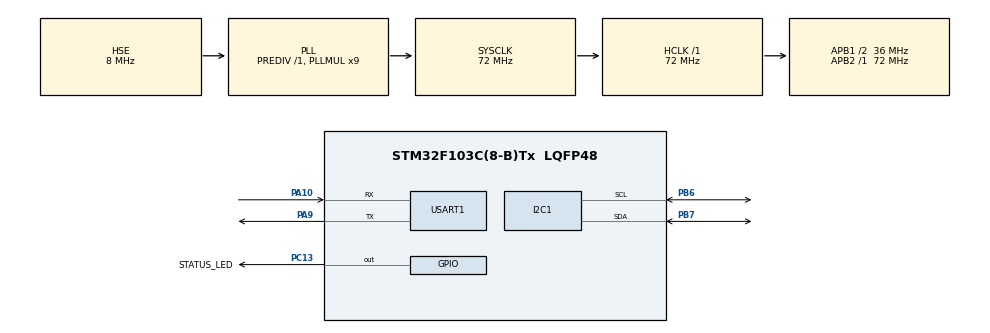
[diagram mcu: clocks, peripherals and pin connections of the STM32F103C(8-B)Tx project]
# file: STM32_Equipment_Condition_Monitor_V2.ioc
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Mcu.Family=STM32F1
Mcu.Name=STM32F103C(8-B)Tx
Mcu.Package=LQFP48
NVIC.PriorityGroup=NVIC_PRIORITYGROUP_4
PA10.Mode=Asynchronous
PA10.Signal=USART1_RX
PA9.Mode=Asynchronous
PA9.Signal=USART1_TX
PB6.Mode=I2C
PB6.Signal=I2C1_SCL
PB7.Mode=I2C
PB7.Signal=I2C1_SDA
PC13-TAMPER-RTC.GPIO_Label=STATUS_LED
PC13-TAMPER-RTC.Signal=GPIO_Output
PD0-OSC_IN.Mode=HSE-External-Oscillator
PD0-OSC_IN.Signal=RCC_OSC_IN
PD1-OSC_OUT.Mode=HSE-External-Oscillator
PD1-OSC_OUT.Signal=RCC_OSC_OUT
ProjectManager.HeapSize=0x200
ProjectManager.StackSize=0x400
ProjectManager.TargetToolchain=STM32CubeIDE
RCC.AHBFreq_Value=72000000
RCC.APB1CLKDivider=RCC_HCLK_DIV2
RCC.APB1Freq_Value=36000000
RCC.APB1TimFreq_Value=72000000
RCC.APB2Freq_Value=72000000
RCC.APB2TimFreq_Value=72000000
RCC.HCLKFreq_Value=72000000
RCC.PLLMUL=RCC_PLL_MUL9
RCC.PLLSourceVirtual=RCC_PLLSOURCE_HSE
RCC.SYSCLKFreq_VALUE=72000000
RCC.SYSCLKSource=RCC_SYSCLKSOURCE_PLLCLK
RCC.USBFreq_Value=72000000
USART1.VirtualMode=VM_ASYNC
VP_SYS_VS_ND.Mode=No_Debug
board=custom

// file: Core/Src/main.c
/* USER CODE BEGIN Header */
/**
  ******************************************************************************
  * @file           : main.c
  * @brief          : Main program body
  ******************************************************************************
  * @attention
  *
  * Copyright (c) 2026 STMicroelectronics.
  * All rights reserved.
  *
  * This software is licensed under terms that can be found in the LICENSE file
  * in the root directory of this software component.
  * If no LICENSE file comes with this software, it is provided AS-IS.
  *
  ******************************************************************************
  */
/* USER CODE END Header */
#include "main.h"
#include <stdio.h>
#include <math.h>
#include <stdlib.h>
#include <string.h>

/* USER CODE BEGIN PD */
#define VIBRATION_THRESHOLD_MG 150
#define CONDITION_WARNING_MG 300
#define CONDITION_CRITICAL_MG 500
#define MPU6050_ADDR        (0x68 << 1)
#define MPU6050_PWR_MGMT_1  0x6B
#define MPU6050_GYRO_CONFIG 0x1B
#define MPU6050_ACCEL_CONFIG 0x1C
#define MPU6050_SMPLRT_DIV  0x19
#define MPU6050_GYRO_XOUT_H  0x43
#define MPU6050_ACCEL_XOUT_H  0x3B
#define MPU6050_ACCEL_XOUT_L  0x3C
#define MPU6050_ACCEL_YOUT_H  0x3D
#define MPU6050_ACCEL_YOUT_L  0x3E
#define MPU6050_ACCEL_ZOUT_H  0x3F
#define MPU6050_ACCEL_ZOUT_L  0x40

/* USER CODE END PD */

I2C_HandleTypeDef hi2c1;

UART_HandleTypeDef huart1;

/* USER CODE BEGIN PV */
int32_t vibration_deviation_mg = 0;
const uint8_t uart_test_message[] =
"\r\n========================================\r\n"
"STM32 EQUIPMENT CONDITION MONITOR V2\r\n"
"[UART] USART1 DIAGNOSTIC TEST\r\n"
"[UART] PASS - TRANSMITTER ACTIVE\r\n"
"========================================\r\n";

int32_t baseline_sum = 0;
int32_t baseline_mag_mg = 0;
uint8_t baseline_ready = 0;
uint8_t baseline_count = 0;

#define VALIDATION_HISTORY_SIZE 10

uint8_t validation_history[VALIDATION_HISTORY_SIZE];
uint8_t validation_history_index = 0;
uint8_t validation_history_count = 0;
#define VIBRATION_SAMPLE_RATE_HZ 100
#define VIBRATION_WINDOW_SIZE 50

int32_t vibration_samples[VIBRATION_WINDOW_SIZE];
uint8_t vibration_sample_count = 0;
int32_t vibration_rms_mg = 0;
uint32_t vibration_sum_squares = 0;
int32_t vibration_peak_mg = 0;
int32_t vibration_peak_to_peak_mg = 0;
int32_t vibration_filtered_mg = 0;
int32_t vibration_filter_prev_mg = 0;
int32_t vibration_min_mg = 0;
int32_t vibration_max_mg = 0;
/* USER CODE END PV */

void SystemClock_Config(void);
static void MX_GPIO_Init(void);
static void MX_USART1_UART_Init(void);
static void MX_I2C1_Init(void);
/* USER CODE BEGIN PFP */

static void Print_Validation_History(void);

/* USER CODE END PFP */
/* USER CODE BEGIN 0 */
#define EVENT_SELF_TEST_PASS      1
#define EVENT_SENSOR_VALID        2
#define EVENT_CONDITION_NORMAL    3
#define EVENT_CONDITION_WARNING   4
#define EVENT_CONDITION_CRITICAL  5
static void Add_Validation_History(uint8_t event)
{
    validation_history[validation_history_index] = event;

    validation_history_index++;

    if (validation_history_index >= VALIDATION_HISTORY_SIZE)
    {
        validation_history_index = 0;
    }

    if (validation_history_count < VALIDATION_HISTORY_SIZE)
    {
        validation_history_count++;
    }
}
static void Print_Validation_History(void)
{
    char buffer[80];

    HAL_UART_Transmit(&huart1,
                      (uint8_t *)"\r\n================================\r\n",
                      sizeof("\r\n================================\r\n") - 1,
                      100);

    HAL_UART_Transmit(&huart1,
                      (uint8_t *)"VALIDATION HISTORY\r\n",
                      sizeof("VALIDATION HISTORY\r\n") - 1,
                      100);

    HAL_UART_Transmit(&huart1,
                      (uint8_t *)"================================\r\n",
                      sizeof("================================\r\n") - 1,
                      100);

    uint8_t start_index = 0;

    if (validation_history_count == VALIDATION_HISTORY_SIZE)
    {
        start_index = validation_history_index;
    }

    for (uint8_t i = 0; i < validation_history_count; i++)
    {
        uint8_t index =
            (start_index + i) % VALIDATION_HISTORY_SIZE;

        switch (validation_history[index])
        {
            case EVENT_SELF_TEST_PASS:
                sprintf(buffer, "[%d] SELF-TEST PASS\r\n", i + 1);
                break;

            case EVENT_SENSOR_VALID:
                sprintf(buffer, "[%d] SENSOR VALID\r\n", i + 1);
                break;

            case EVENT_CONDITION_NORMAL:
                sprintf(buffer, "[%d] CONDITION NORMAL\r\n", i + 1);
                break;

            case EVENT_CONDITION_WARNING:
                sprintf(buffer, "[%d] CONDITION WARNING\r\n", i + 1);
                break;

            case EVENT_CONDITION_CRITICAL:
                sprintf(buffer, "[%d] CONDITION CRITICAL\r\n", i + 1);
                break;

            default:
                sprintf(buffer, "[%d] UNKNOWN EVENT\r\n", i + 1);
                break;
        }

        HAL_UART_Transmit(&huart1,
                          (uint8_t *)buffer,
                          strlen(buffer),
                          100);
    }

    HAL_UART_Transmit(&huart1,
                      (uint8_t *)"================================\r\n",
                      sizeof("================================\r\n") - 1,
                      100);
}
/* USER CODE END 0 */

int main(void)
{

  /* MCU Configuration--------------------------------------------------------*/

  /* Reset of all peripherals, Initializes the Flash interface and the Systick. */
  HAL_Init();

  /* Configure the system clock */
  SystemClock_Config();

  /* Initialize all configured peripherals */
  MX_GPIO_Init();
  MX_USART1_UART_Init();
  MX_I2C1_Init();
  /* USER CODE BEGIN 2 */
  uint8_t sensor_valid = 1;
  uint8_t accel_read_ok = 0;
  uint8_t gyro_read_ok = 0;
  uint8_t self_test_pass = 1;
  uint8_t self_test_accel_ok = 0;
  uint8_t self_test_gyro_ok = 0;
  uint8_t mpu6050_whoami = 0;

  uint8_t sensor_event_recorded = 0;
  uint8_t previous_condition = 0;
  uint8_t current_condition = 0;

  uint8_t mpu6050_data;
  uint8_t accel_data[6];
  uint8_t gyro_data[6];
  int16_t accel_x;
  int16_t accel_y;
  int16_t accel_z;
  int32_t accel_mag_mg;

  /* Read MPU6050 WHO_AM_I register */
  if (HAL_I2C_Mem_Read(&hi2c1,
                       MPU6050_ADDR,
                       0x75,
                       I2C_MEMADD_SIZE_8BIT,
                       &mpu6050_whoami,
                       1,
                       100) != HAL_OK)
  {
      HAL_UART_Transmit(&huart1,
                        (uint8_t *)"[SENSOR] WHO_AM_I READ FAIL\r\n",
                        30,
                        100);
  }
  else if (mpu6050_whoami == 0x68)

  {
      HAL_UART_Transmit(&huart1,
                        (uint8_t *)"MPU6050 I2C PASS - WHO_AM_I = 0x68\r\n",
                        38,
                        100);
  }
  else
  {
      HAL_UART_Transmit(&huart1,
                        (uint8_t *)"MPU6050 I2C FAIL\r\n",
                        19,
                        100);
  }

  /* Wake MPU6050 */
  mpu6050_data = 0x00;

  HAL_I2C_Mem_Write(&hi2c1,
                    MPU6050_ADDR,
                    MPU6050_PWR_MGMT_1,
                    I2C_MEMADD_SIZE_8BIT,
                    &mpu6050_data,
                    1,
                    100);

  /* Sample rate divider: 9 */
  mpu6050_data = 0x09;

  HAL_I2C_Mem_Write(&hi2c1,
                    MPU6050_ADDR,
                    MPU6050_SMPLRT_DIV,
                    I2C_MEMADD_SIZE_8BIT,
                    &mpu6050_data,
                    1,
                    100);

  /* Accelerometer: ±2g */
  mpu6050_data = 0x00;

  HAL_I2C_Mem_Write(&hi2c1,
                    MPU6050_ADDR,
                    MPU6050_ACCEL_CONFIG,
                    I2C_MEMADD_SIZE_8BIT,
                    &mpu6050_data,
                    1,
                    100);

  /* Gyroscope: ±250 °/s */
  mpu6050_data = 0x00;

  HAL_I2C_Mem_Write(&hi2c1,
                    MPU6050_ADDR,
                    MPU6050_GYRO_CONFIG,
                    I2C_MEMADD_SIZE_8BIT,
                    &mpu6050_data,
                    1,
                    100);

  /* Verify MPU6050 power-management register */
  if (HAL_I2C_Mem_Read(&hi2c1,
                       MPU6050_ADDR,
                       MPU6050_PWR_MGMT_1,
                       I2C_MEMADD_SIZE_8BIT,
                       &mpu6050_data,
                       1,
                       100) != HAL_OK)
  {
      HAL_UART_Transmit(&huart1,
                        (uint8_t *)"[SENSOR] PWR_MGMT READ FAIL\r\n",
                        30,
                        100);
  }
  else if (mpu6050_data == 0x00)
  {
      HAL_UART_Transmit(&huart1,
                        (uint8_t *)"MPU6050 INITIALIZATION PASS\r\n",
                        30,
                        100);
  }
  else
  {
      HAL_UART_Transmit(&huart1,
                        (uint8_t *)"MPU6050 INITIALIZATION FAIL\r\n",
                        30,
                        100);
  }
  /* Integrated MPU6050 functional self-test */

  if (HAL_I2C_Mem_Read(&hi2c1,
                       MPU6050_ADDR,
                       MPU6050_ACCEL_XOUT_H,
                       I2C_MEMADD_SIZE_8BIT,
                       accel_data,
                       6,
                       100) == HAL_OK)
  {
      self_test_accel_ok = 1;
  }
  else
  {
      self_test_pass = 0;
  }

  if (HAL_I2C_Mem_Read(&hi2c1,
                       MPU6050_ADDR,
                       MPU6050_GYRO_XOUT_H,
                       I2C_MEMADD_SIZE_8BIT,
                       gyro_data,
                       6,
                       100) == HAL_OK)
  {
      self_test_gyro_ok = 1;
  }
  else
  {
      self_test_pass = 0;
  }

  /* Report self-test */

  HAL_UART_Transmit(&huart1,
                    (uint8_t *)"\r\n[SELF-TEST] MPU6050 FUNCTIONAL TEST\r\n",
                    sizeof("\r\n[SELF-TEST] MPU6050 FUNCTIONAL TEST\r\n") - 1,
                    100);

  if (self_test_accel_ok)
  {
      HAL_UART_Transmit(&huart1,
                        (uint8_t *)"[SELF-TEST] ACCEL READ : PASS\r\n",
                        sizeof("[SELF-TEST] ACCEL READ : PASS\r\n") - 1,
                        100);
  }
  else
  {
      HAL_UART_Transmit(&huart1,
                        (uint8_t *)"[SELF-TEST] ACCEL READ : FAIL\r\n",
                        sizeof("[SELF-TEST] ACCEL READ : FAIL\r\n") - 1,
                        100);
  }

  if (self_test_gyro_ok)
  {
      HAL_UART_Transmit(&huart1,
                        (uint8_t *)"[SELF-TEST] GYRO READ  : PASS\r\n",
                        sizeof("[SELF-TEST] GYRO READ  : PASS\r\n") - 1,
                        100);
  }
  else
  {
      HAL_UART_Transmit(&huart1,
                        (uint8_t *)"[SELF-TEST] GYRO READ  : FAIL\r\n",
                        sizeof("[SELF-TEST] GYRO READ  : FAIL\r\n") - 1,
                        100);
  }

  if (self_test_pass &&
      self_test_accel_ok &&
      self_test_gyro_ok)
  {
	  Add_Validation_History(EVENT_SELF_TEST_PASS);
	  HAL_UART_Transmit(&huart1,
                        (uint8_t *)"[SELF-TEST] RESULT     : PASS\r\n\r\n",
                        sizeof("[SELF-TEST] RESULT     : PASS\r\n\r\n") - 1,
                        100);
  }
  else
  {
      HAL_UART_Transmit(&huart1,
                        (uint8_t *)"[SELF-TEST] RESULT     : FAIL\r\n\r\n",
                        sizeof("[SELF-TEST] RESULT     : FAIL\r\n\r\n") - 1,
                        100);
  }

  /* USER CODE END 2 */

  /* Infinite loop */
  /* USER CODE BEGIN WHILE */
  while (1)
  {
	  /* Read accelerometer */
	  if (HAL_I2C_Mem_Read(&hi2c1,
	                       MPU6050_ADDR,
	                       MPU6050_ACCEL_XOUT_H,
	                       I2C_MEMADD_SIZE_8BIT,
	                       accel_data,
	                       6,
	                       100) == HAL_OK)
	  {
	      accel_read_ok = 1;
	  }
	  else
	  {
	      accel_read_ok = 0;

	      HAL_UART_Transmit(&huart1,
	                        (uint8_t *)"[SENSOR] ACCEL READ FAIL\r\n",
	                        sizeof("[SENSOR] ACCEL READ FAIL\r\n") - 1,
	                        100);

	      HAL_Delay(100);
	      continue;
	  }

      accel_x = (int16_t)((accel_data[0] << 8) | accel_data[1]);
      accel_y = (int16_t)((accel_data[2] << 8) | accel_data[3]);
      accel_z = (int16_t)((accel_data[4] << 8) | accel_data[5]);

      /* Read gyroscope */
      if (HAL_I2C_Mem_Read(&hi2c1,
                           MPU6050_ADDR,
                           MPU6050_GYRO_XOUT_H,
                           I2C_MEMADD_SIZE_8BIT,
                           gyro_data,
                           6,
                           100) == HAL_OK)
      {
          gyro_read_ok = 1;
      }
      else
      {
          gyro_read_ok = 0;

          HAL_UART_Transmit(&huart1,
                            (uint8_t *)"[SENSOR] GYRO READ FAIL\r\n",
                            sizeof("[SENSOR] GYRO READ FAIL\r\n") - 1,
                            100);

          HAL_Delay(100);
          continue;
      }
      if (accel_read_ok && gyro_read_ok)
      {
          sensor_valid = 1;

          if (!sensor_event_recorded)
          {
              Add_Validation_History(EVENT_SENSOR_VALID);
              sensor_event_recorded = 1;
          }
      }
      else
      {
          sensor_valid = 0;

          HAL_UART_Transmit(&huart1,
                            (uint8_t *)"[SENSOR] INVALID - I2C READ ERROR\r\n",
                            sizeof("[SENSOR] INVALID - I2C READ ERROR\r\n") - 1,
                            100);

          HAL_Delay(100);
          continue;
      }

      int32_t ax_mg;
      int32_t ay_mg;
      int32_t az_mg;

      ax_mg = ((int32_t)accel_x * 1000) / 16384;
      ay_mg = ((int32_t)accel_y * 1000) / 16384;
      az_mg = ((int32_t)accel_z * 1000) / 16384;

      float accel_mag;

      accel_mag = sqrtf(
          ((float)ax_mg * ax_mg) +
          ((float)ay_mg * ay_mg) +
          ((float)az_mg * az_mg)
      );

      accel_mag_mg = (int32_t)accel_mag;

      if (vibration_sample_count >= VIBRATION_WINDOW_SIZE)
      {
          vibration_sum_squares = 0;
          vibration_min_mg = vibration_samples[0];
          vibration_max_mg = vibration_samples[0];

          for (uint8_t i = 0; i < VIBRATION_WINDOW_SIZE; i++)
          {
              vibration_sum_squares +=
                  (uint32_t)(vibration_samples[i] * vibration_samples[i]);

              if (vibration_samples[i] < vibration_min_mg)
              {
                  vibration_min_mg = vibration_samples[i];
              }

              if (vibration_samples[i] > vibration_max_mg)
              {
                  vibration_max_mg = vibration_samples[i];
              }
          }

          vibration_rms_mg =
              (int32_t)sqrtf(
                  (float)vibration_sum_squares /
                  VIBRATION_WINDOW_SIZE
              );

          vibration_peak_mg = vibration_max_mg;

          vibration_peak_to_peak_mg =
              vibration_max_mg - vibration_min_mg;

          vibration_sample_count = 0;
      }

      if (baseline_ready)
      {
          vibration_deviation_mg = accel_mag_mg - baseline_mag_mg;

          if (vibration_deviation_mg < 0)
          {
              vibration_deviation_mg = -vibration_deviation_mg;
          }
      }
      else
      {
          vibration_deviation_mg = 0;
      }

      if (baseline_ready)
      {
          if (vibration_sample_count < VIBRATION_WINDOW_SIZE)
          {
        	  vibration_filtered_mg =
        	      ((vibration_filter_prev_mg * 3) +
        	       vibration_deviation_mg) / 4;

        	  vibration_filter_prev_mg = vibration_filtered_mg;

        	  vibration_samples[vibration_sample_count] =
        	      vibration_filtered_mg;
              vibration_sample_count++;
          }
      }

      if (!baseline_ready)
      {
          baseline_sum += accel_mag_mg;
          baseline_count++;

          if (baseline_count >= 20)
          {
              baseline_mag_mg = baseline_sum / 20;
              baseline_ready = 1;

              HAL_UART_Transmit(&huart1,
                                (uint8_t *)"[BASELINE] READY\r\n",
                                sizeof("[BASELINE] READY\r\n") - 1,
                                100);
          }
      }

      /* Determine machine condition */

      if (!baseline_ready)
      {
          current_condition = 0;
      }
      else if (!sensor_valid)
      {
          current_condition = EVENT_CONDITION_CRITICAL;
      }
      else if (vibration_deviation_mg >= CONDITION_CRITICAL_MG)
      {
          current_condition = EVENT_CONDITION_CRITICAL;
      }
      else if (vibration_deviation_mg >= CONDITION_WARNING_MG)
      {
          current_condition = EVENT_CONDITION_WARNING;
      }
      else
      {
          current_condition = EVENT_CONDITION_NORMAL;
      }

      /* Record only condition changes */

      if (current_condition != 0 &&
          current_condition != previous_condition)
      {
          Add_Validation_History(current_condition);
          previous_condition = current_condition;

          Print_Validation_History();
      }

      char buffer[220];
      int len;
      const char *vibration_status;

      if (!baseline_ready)
      {
          vibration_status = "BASELINE";
      }
      else if (vibration_deviation_mg >= CONDITION_CRITICAL_MG)
      {
          vibration_status = "CRITICAL";
      }
      else if (vibration_deviation_mg >= CONDITION_WARNING_MG)
      {
          vibration_status = "WARNING";
      }
      else if (vibration_deviation_mg >= VIBRATION_THRESHOLD_MG)
      {
          vibration_status = "ELEVATED";
      }
      else
      {
          vibration_status = "NORMAL";
      }

      if (!baseline_ready)
      {
          len = sprintf(buffer,
                        "ACC X=%4ld Y=%4ld Z=%4ld | MAG=%4ld | BASELINE\r\n",
                        ax_mg,
                        ay_mg,
                        az_mg,
                        accel_mag_mg);
      }
      else if (!sensor_valid)
      {
          len = sprintf(buffer,
                        "SENSOR INVALID                         | CRITICAL\r\n");
      }
      else if (vibration_deviation_mg >= CONDITION_CRITICAL_MG)
      {
          len = sprintf(buffer,
                        "ACC X=%4ld Y=%4ld Z=%4ld | MAG=%4ld | DEV=%4ld | RMS=%4ld | PEAK=%4ld | P-P=%4ld | VIB=%-8s | CRITICAL\r\n",
                        ax_mg,
                        ay_mg,
                        az_mg,
                        accel_mag_mg,
                        vibration_deviation_mg,
                        vibration_rms_mg,
                        vibration_peak_mg,
                        vibration_peak_to_peak_mg,
                        vibration_status);
      }
      else if (vibration_deviation_mg >= CONDITION_WARNING_MG)
      {
          len = sprintf(buffer,
                        "ACC X=%4ld Y=%4ld Z=%4ld | MAG=%4ld | DEV=%4ld | RMS=%4ld | PEAK=%4ld | P-P=%4ld | VIB=%-8s | WARNING\r\n",
                        ax_mg,
                        ay_mg,
                        az_mg,
                        accel_mag_mg,
                        vibration_deviation_mg,
                        vibration_rms_mg,
                        vibration_peak_mg,
                        vibration_peak_to_peak_mg,
                        vibration_status);
      }
      else
      {
          len = sprintf(buffer,
                        "ACC X=%4ld Y=%4ld Z=%4ld | MAG=%4ld | DEV=%4ld | RMS=%4ld | PEAK=%4ld | P-P=%4ld | VIB=%-8s | NORMAL\r\n",
                        ax_mg,
                        ay_mg,
                        az_mg,
                        accel_mag_mg,
                        vibration_deviation_mg,
                        vibration_rms_mg,
                        vibration_peak_mg,
                        vibration_peak_to_peak_mg,
                        vibration_status);
      }
      HAL_UART_Transmit(&huart1,
                        (uint8_t *)buffer,
                        len,
                        500);

      HAL_GPIO_TogglePin(STATUS_LED_GPIO_Port, STATUS_LED_Pin);

      HAL_Delay(10);
  }
}
void SystemClock_Config(void)
{
  RCC_OscInitTypeDef RCC_OscInitStruct = {0};
  RCC_ClkInitTypeDef RCC_ClkInitStruct = {0};

  /** Initializes the RCC Oscillators according to the specified parameters
  * in the RCC_OscInitTypeDef structure.
  */
  RCC_OscInitStruct.OscillatorType = RCC_OSCILLATORTYPE_HSE;
  RCC_OscInitStruct.HSEState = RCC_HSE_ON;
  RCC_OscInitStruct.HSEPredivValue = RCC_HSE_PREDIV_DIV1;
  RCC_OscInitStruct.HSIState = RCC_HSI_ON;
  RCC_OscInitStruct.PLL.PLLState = RCC_PLL_ON;
  RCC_OscInitStruct.PLL.PLLSource = RCC_PLLSOURCE_HSE;
  RCC_OscInitStruct.PLL.PLLMUL = RCC_PLL_MUL9;
  if (HAL_RCC_OscConfig(&RCC_OscInitStruct) != HAL_OK)
  {
    Error_Handler();
  }

  /** Initializes the CPU, AHB and APB buses clocks
  */
  RCC_ClkInitStruct.ClockType = RCC_CLOCKTYPE_HCLK|RCC_CLOCKTYPE_SYSCLK
                              |RCC_CLOCKTYPE_PCLK1|RCC_CLOCKTYPE_PCLK2;
  RCC_ClkInitStruct.SYSCLKSource = RCC_SYSCLKSOURCE_PLLCLK;
  RCC_ClkInitStruct.AHBCLKDivider = RCC_SYSCLK_DIV1;
  RCC_ClkInitStruct.APB1CLKDivider = RCC_HCLK_DIV2;
  RCC_ClkInitStruct.APB2CLKDivider = RCC_HCLK_DIV1;

  if (HAL_RCC_ClockConfig(&RCC_ClkInitStruct, FLASH_LATENCY_2) != HAL_OK)
  {
    Error_Handler();
  }
}

static void MX_I2C1_Init(void)
{

  hi2c1.Instance = I2C1;
  hi2c1.Init.ClockSpeed = 100000;
  hi2c1.Init.DutyCycle = I2C_DUTYCYCLE_2;
  hi2c1.Init.OwnAddress1 = 0;
  hi2c1.Init.AddressingMode = I2C_ADDRESSINGMODE_7BIT;
  hi2c1.Init.DualAddressMode = I2C_DUALADDRESS_DISABLE;
  hi2c1.Init.OwnAddress2 = 0;
  hi2c1.Init.GeneralCallMode = I2C_GENERALCALL_DISABLE;
  hi2c1.Init.NoStretchMode = I2C_NOSTRETCH_DISABLE;
  if (HAL_I2C_Init(&hi2c1) != HAL_OK)
  {
    Error_Handler();
  }

}

static void MX_USART1_UART_Init(void)
{

  huart1.Instance = USART1;
  huart1.Init.BaudRate = 115200;
  huart1.Init.WordLength = UART_WORDLENGTH_8B;
  huart1.Init.StopBits = UART_STOPBITS_1;
  huart1.Init.Parity = UART_PARITY_NONE;
  huart1.Init.Mode = UART_MODE_TX_RX;
  huart1.Init.HwFlowCtl = UART_HWCONTROL_NONE;
  huart1.Init.OverSampling = UART_OVERSAMPLING_16;
  if (HAL_UART_Init(&huart1) != HAL_OK)
  {
    Error_Handler();
  }

}

static void MX_GPIO_Init(void)
{
  GPIO_InitTypeDef GPIO_InitStruct = {0};

  /* GPIO Ports Clock Enable */
  __HAL_RCC_GPIOC_CLK_ENABLE();
  __HAL_RCC_GPIOD_CLK_ENABLE();
  __HAL_RCC_GPIOA_CLK_ENABLE();
  __HAL_RCC_GPIOB_CLK_ENABLE();

  /*Configure GPIO pin Output Level */
  HAL_GPIO_WritePin(STATUS_LED_GPIO_Port, STATUS_LED_Pin, GPIO_PIN_RESET);

  /*Configure GPIO pin : STATUS_LED_Pin */
  GPIO_InitStruct.Pin = STATUS_LED_Pin;
  GPIO_InitStruct.Mode = GPIO_MODE_OUTPUT_PP;
  GPIO_InitStruct.Pull = GPIO_NOPULL;
  GPIO_InitStruct.Speed = GPIO_SPEED_FREQ_LOW;
  HAL_GPIO_Init(STATUS_LED_GPIO_Port, &GPIO_InitStruct);

}

void Error_Handler(void)
{
  /* USER CODE BEGIN Error_Handler_Debug */
  /* User can add his own implementation to report the HAL error return state */
  __disable_irq();
  while (1)
  {
      HAL_UART_Transmit(&huart1,
                        (uint8_t *)uart_test_message,
                        sizeof(uart_test_message) - 1,
                        100);

      HAL_GPIO_TogglePin(STATUS_LED_GPIO_Port, STATUS_LED_Pin);

      HAL_Delay(1000);
  }
  /* USER CODE END Error_Handler_Debug */
}
